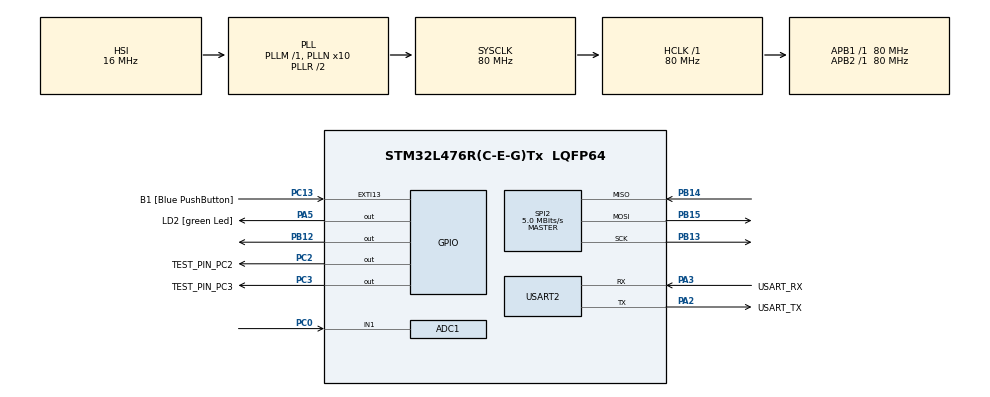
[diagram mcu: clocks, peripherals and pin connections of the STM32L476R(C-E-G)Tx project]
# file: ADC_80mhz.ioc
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ADC1.Channel-0\#ChannelRegularConversion=ADC_CHANNEL_1
ADC1.ContinuousConvMode=ENABLE
ADC1.DMAContinuousRequests=ENABLE
ADC1.NbrOfConversionFlag=1
ADC1.OffsetNumber-0\#ChannelRegularConversion=ADC_OFFSET_NONE
ADC1.Overrun=ADC_OVR_DATA_OVERWRITTEN
ADC1.Rank-0\#ChannelRegularConversion=1
ADC1.SamplingTime-0\#ChannelRegularConversion=ADC_SAMPLETIME_2CYCLES_5
ADC1.master=1
Dma.ADC1.0.Direction=DMA_PERIPH_TO_MEMORY
Dma.ADC1.0.Instance=DMA1_Channel1
Dma.ADC1.0.MemDataAlignment=DMA_MDATAALIGN_WORD
Dma.ADC1.0.MemInc=DMA_MINC_ENABLE
Dma.ADC1.0.Mode=DMA_CIRCULAR
Dma.ADC1.0.PeriphDataAlignment=DMA_PDATAALIGN_WORD
Dma.ADC1.0.PeriphInc=DMA_PINC_DISABLE
Dma.ADC1.0.Priority=DMA_PRIORITY_VERY_HIGH
Dma.Request0=ADC1
FATFS._MAX_SS=4096
FATFS._USE_LFN=1
Mcu.Family=STM32L4
Mcu.Name=STM32L476R(C-E-G)Tx
Mcu.Package=LQFP64
NVIC.DMA1_Channel1_IRQn=true\:0\:0\:false\:false\:true\:false\:true\:true
NVIC.PriorityGroup=NVIC_PRIORITYGROUP_4
PA13\ (JTMS-SWDIO).GPIO_Label=TMS
PA13\ (JTMS-SWDIO).Mode=Serial_Wire
PA13\ (JTMS-SWDIO).Signal=SYS_JTMS-SWDIO
PA14\ (JTCK-SWCLK).GPIO_Label=TCK
PA14\ (JTCK-SWCLK).Mode=Serial_Wire
PA14\ (JTCK-SWCLK).Signal=SYS_JTCK-SWCLK
PA2.GPIO_Label=USART_TX
PA2.GPIO_Mode=GPIO_MODE_AF_PP
PA2.GPIO_PuPd=GPIO_NOPULL
PA2.GPIO_Speed=GPIO_SPEED_FREQ_VERY_HIGH
PA2.Mode=Asynchronous
PA2.Signal=USART2_TX
PA3.GPIO_Label=USART_RX
PA3.GPIO_Mode=GPIO_MODE_AF_PP
PA3.GPIO_PuPd=GPIO_NOPULL
PA3.GPIO_Speed=GPIO_SPEED_FREQ_VERY_HIGH
PA3.Mode=Asynchronous
PA3.Signal=USART2_RX
PA5.GPIO_Label=LD2 [green Led]
PA5.GPIO_ModeDefaultOutputPP=GPIO_MODE_OUTPUT_PP
PA5.GPIO_PuPd=GPIO_NOPULL
PA5.GPIO_Speed=GPIO_SPEED_FREQ_LOW
PA5.Signal=GPIO_Output
PB12.Signal=GPIO_Output
PB13.Mode=Full_Duplex_Master
PB13.Signal=SPI2_SCK
PB14.Mode=Full_Duplex_Master
PB14.Signal=SPI2_MISO
PB15.Mode=Full_Duplex_Master
PB15.Signal=SPI2_MOSI
PB3\ (JTDO-TRACESWO).GPIO_Label=SWO
PB3\ (JTDO-TRACESWO).Signal=SYS_JTDO-SWO
PC0.Signal=ADCx_IN1
PC13.GPIO_Label=B1 [Blue PushButton]
PC13.GPIO_ModeDefaultEXTI=GPIO_MODE_IT_FALLING
PC13.GPIO_PuPd=GPIO_NOPULL
PC13.Signal=GPXTI13
PC14-OSC32_IN\ (PC14).Mode=LSE-External-Oscillator
PC14-OSC32_IN\ (PC14).Signal=RCC_OSC32_IN
PC15-OSC32_OUT\ (PC15).Mode=LSE-External-Oscillator
PC15-OSC32_OUT\ (PC15).Signal=RCC_OSC32_OUT
PC2.GPIO_Label=TEST_PIN_PC2
PC2.GPIO_Speed=GPIO_SPEED_FREQ_VERY_HIGH
PC2.Signal=GPIO_Output
PC3.GPIO_Label=TEST_PIN_PC3
PC3.GPIO_Speed=GPIO_SPEED_FREQ_VERY_HIGH
PC3.Signal=GPIO_Output
PH0-OSC_IN\ (PH0).Signal=RCC_OSC_IN
PH1-OSC_OUT\ (PH1).Signal=RCC_OSC_OUT
ProjectManager.HeapSize=0x200
ProjectManager.StackSize=0x400
ProjectManager.TargetToolchain=STM32CubeIDE
RCC.ADCCLockSelection=RCC_ADCCLKSOURCE_SYSCLK
RCC.ADCFreq_Value=80000000
RCC.AHBFreq_Value=80000000
RCC.APB1Freq_Value=80000000
RCC.APB1TimFreq_Value=80000000
RCC.APB2Freq_Value=80000000
RCC.APB2TimFreq_Value=80000000
RCC.CortexFreq_Value=80000000
RCC.HCLKFreq_Value=80000000
RCC.HSE_VALUE=8000000
RCC.HSI_VALUE=16000000
RCC.MSI_VALUE=4000000
RCC.PLLN=10
RCC.PLLSourceVirtual=RCC_PLLSOURCE_HSI
RCC.PREFETCH_ENABLE=1
RCC.SYSCLKFreq_VALUE=80000000
RCC.SYSCLKSource=RCC_SYSCLKSOURCE_PLLCLK
RCC.USART2CLockSelection=RCC_USART2CLKSOURCE_SYSCLK
RCC.USBFreq_Value=64000000
RCC.VCOOutputFreq_Value=160000000
SH.ADCx_IN1.0=ADC1_IN1,IN1-Single-Ended
SPI2.BaudRatePrescaler=SPI_BAUDRATEPRESCALER_16
SPI2.CLKPolarity=SPI_POLARITY_HIGH
SPI2.CalculateBaudRate=5.0 MBits/s
SPI2.DataSize=SPI_DATASIZE_8BIT
SPI2.Direction=SPI_DIRECTION_2LINES
SPI2.Mode=SPI_MODE_MASTER
SPI2.VirtualType=VM_MASTER
TIM2.Prescaler=79
USART2.VirtualMode-Asynchronous=VM_ASYNC
VP_FATFS_VS_Generic.Mode=User_defined
VP_TIM2_VS_ClockSourceINT.Mode=Internal
board=NUCLEO-L476RG

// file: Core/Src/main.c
/* USER CODE BEGIN Header */
/**
  ******************************************************************************
  * @file           : main.c
  * @brief          : Main program body
  ******************************************************************************
  * @attention
  *
  * Copyright (c) 2024 STMicroelectronics.
  * All rights reserved.
  *
  * This software is licensed under terms that can be found in the LICENSE file
  * in the root directory of this software component.
  * If no LICENSE file comes with this software, it is provided AS-IS.
  *
  ******************************************************************************
  */
/* USER CODE END Header */
#include "main.h"
#include "adc.h"
#include "dma.h"
#include "fatfs.h"
#include "spi.h"
#include "tim.h"
#include "usart.h"
#include "gpio.h"

/* USER CODE BEGIN Includes */
#include <stdbool.h>
#include <string.h>
/* USER CODE END Includes */

void SystemClock_Config(void);
/* USER CODE BEGIN PFP */
void process_SD_card(void);
/* USER CODE END PFP */

int main(void)
{

  /* MCU Configuration--------------------------------------------------------*/

  /* Reset of all peripherals, Initializes the Flash interface and the Systick. */
  HAL_Init();

  /* Configure the system clock */
  SystemClock_Config();

  /* Initialize all configured peripherals */
  MX_GPIO_Init();
  MX_DMA_Init();
  MX_ADC1_Init();
  MX_USART2_UART_Init();
  MX_TIM2_Init();
  MX_SPI2_Init();
  MX_FATFS_Init();
  /* USER CODE BEGIN 2 */
  HAL_ADCEx_Calibration_Start(&hadc1, ADC_SINGLE_ENDED);
  HAL_Delay(200);
  //HAL_TIM_Base_Start(&htim2);
 // HAL_ADC_Start_DMA(&hadc1, (uint32_t*)&adc_value, 1);

  /* USER CODE END 2 */

  /* Infinite loop */
  /* USER CODE BEGIN WHILE */
  uint8_t test_data[4096] = {1};
  //uint8_t test_data[512] = {0x01, 0x02, 0x03, 0x04, 0x05, 0x06, 0x07, 0x08,0x09, 0x0A, 0x0B, 0x0C, 0x0D, 0x0E, 0x0F, 0x10};
  //process_SD_card();
  SD_Card_Open();
  HAL_GPIO_TogglePin(TEST_PIN_PC3_GPIO_Port, TEST_PIN_PC3_Pin);
  SD_Card_Write(test_data, (uint32_t)(sizeof(test_data)));
  HAL_GPIO_TogglePin(TEST_PIN_PC3_GPIO_Port, TEST_PIN_PC3_Pin);
  SD_Card_Close();
  while (1)
  {
    /* USER CODE END WHILE */

  }
}

void SystemClock_Config(void)
{
  RCC_OscInitTypeDef RCC_OscInitStruct = {0};
  RCC_ClkInitTypeDef RCC_ClkInitStruct = {0};

  /** Configure the main internal regulator output voltage
  */
  if (HAL_PWREx_ControlVoltageScaling(PWR_REGULATOR_VOLTAGE_SCALE1) != HAL_OK)
  {
    Error_Handler();
  }

  /** Initializes the RCC Oscillators according to the specified parameters
  * in the RCC_OscInitTypeDef structure.
  */
  RCC_OscInitStruct.OscillatorType = RCC_OSCILLATORTYPE_HSI;
  RCC_OscInitStruct.HSIState = RCC_HSI_ON;
  RCC_OscInitStruct.HSICalibrationValue = RCC_HSICALIBRATION_DEFAULT;
  RCC_OscInitStruct.PLL.PLLState = RCC_PLL_ON;
  RCC_OscInitStruct.PLL.PLLSource = RCC_PLLSOURCE_HSI;
  RCC_OscInitStruct.PLL.PLLM = 1;
  RCC_OscInitStruct.PLL.PLLN = 10;
  RCC_OscInitStruct.PLL.PLLP = RCC_PLLP_DIV7;
  RCC_OscInitStruct.PLL.PLLQ = RCC_PLLQ_DIV2;
  RCC_OscInitStruct.PLL.PLLR = RCC_PLLR_DIV2;
  if (HAL_RCC_OscConfig(&RCC_OscInitStruct) != HAL_OK)
  {
    Error_Handler();
  }

  /** Initializes the CPU, AHB and APB buses clocks
  */
  RCC_ClkInitStruct.ClockType = RCC_CLOCKTYPE_HCLK|RCC_CLOCKTYPE_SYSCLK
                              |RCC_CLOCKTYPE_PCLK1|RCC_CLOCKTYPE_PCLK2;
  RCC_ClkInitStruct.SYSCLKSource = RCC_SYSCLKSOURCE_PLLCLK;
  RCC_ClkInitStruct.AHBCLKDivider = RCC_SYSCLK_DIV1;
  RCC_ClkInitStruct.APB1CLKDivider = RCC_HCLK_DIV1;
  RCC_ClkInitStruct.APB2CLKDivider = RCC_HCLK_DIV1;

  if (HAL_RCC_ClockConfig(&RCC_ClkInitStruct, FLASH_LATENCY_4) != HAL_OK)
  {
    Error_Handler();
  }
}

/* USER CODE BEGIN 4 */

void process_SD_card( void )
{
  FATFS       FatFs;                //Fatfs handle
  FIL         fil;                  //File handle
  FRESULT     fres;                 //Result after operations
  char        buf[100];

  do
  {
    //Mount the SD Card
    fres = f_mount(&FatFs, "", 1);    //1=mount now
    if (fres != FR_OK)
    {
    	DEBUG_PRINTF("No SD Card found : (%i)\r\n", fres);
      break;
    }
    DEBUG_MESSAGE("SD Card Mounted Successfully!!!\r\n");

    //Read the SD Card Total size and Free Size
    FATFS *pfs;
    DWORD fre_clust;
    uint32_t totalSpace, freeSpace;

    f_getfree("", &fre_clust, &pfs);
    totalSpace = (uint32_t)((pfs->n_fatent - 2) * pfs->csize * 0.5);
    freeSpace = (uint32_t)(fre_clust * pfs->csize * 0.5);

    DEBUG_PRINTF("TotalSpace : %lu bytes, FreeSpace = %lu bytes\n", totalSpace, freeSpace);

    //Open the file
    fres = f_open(&fil, "datalogger.txt", FA_WRITE | FA_READ | FA_CREATE_ALWAYS);
    if(fres != FR_OK)
    {
    	DEBUG_PRINTF("File creation/open Error : (%i)\r\n", fres);
      break;
    }

    DEBUG_MESSAGE("Writing data!!!\r\n");
    //write the data
    f_puts("Welcome to Datalogger Project", &fil);

    //close your file
    f_close(&fil);

    //Open the file
    fres = f_open(&fil, "datalogger.txt", FA_READ);
    if(fres != FR_OK)
    {
    	DEBUG_PRINTF("File opening Error : (%i)\r\n", fres);
      break;
    }

    //read the data
    f_gets(buf, sizeof(buf), &fil);

    DEBUG_PRINTF("Read Data : %s\n", buf);

    //close your file
    f_close(&fil);
    DEBUG_MESSAGE("Closing File!!!\r\n");
#if 0
    //Delete the file.
    fres = f_unlink(datalogger.txt);
    if (fres != FR_OK)
    {
    	DEBUG_MESSAGE("Cannot able to delete the file\n");
    }
#endif
  } while( false );

  //We're done, so de-mount the drive
  f_mount(NULL, "", 0);
  DEBUG_MESSAGE("SD Card Unmounted Successfully!!!\r\n");
}
/* USER CODE END 4 */

void Error_Handler(void)
{
  __disable_irq();
  while (1)
  {
  }
}
